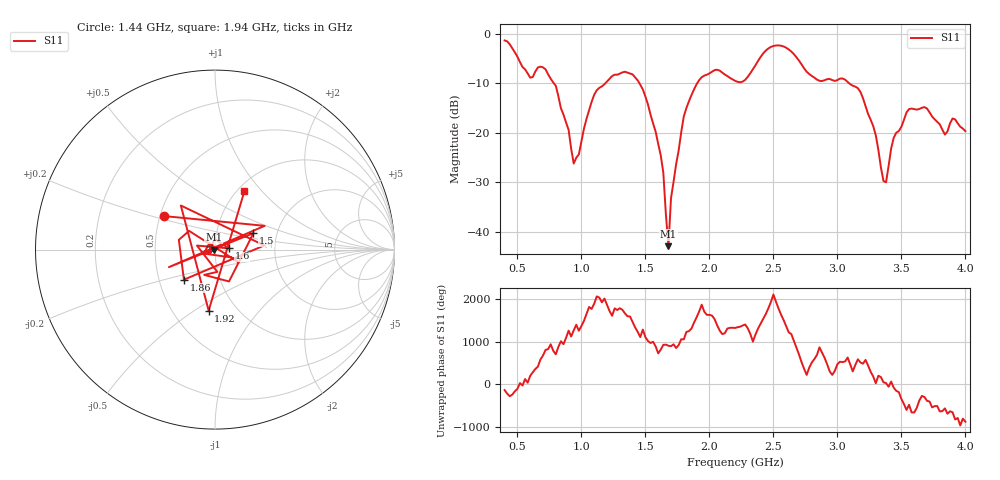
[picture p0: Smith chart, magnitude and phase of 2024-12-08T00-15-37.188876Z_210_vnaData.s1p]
!Created with skrf (http://scikit-rf.org).
# Hz S RI R 50.0
!freq ReS11 ImS11
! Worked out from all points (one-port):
!   181 points, 400 MHz to 4 GHz, reference 50 ohm
!   lowest |S11| = -42.9 dB at 1.68 GHz (marker M1), VSWR 1.01, Z = 49.3 - j0.0261 ohm
!   |S11| at or under -10 dB: 785.8 MHz to 1.186 GHz (400.2 MHz wide, 40.6 % of centre); 1.454 GHz to 1.904 GHz (449.7 MHz wide, 26.8 % of centre); 3.093 GHz to end of sweep
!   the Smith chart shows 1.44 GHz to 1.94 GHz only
!   S11 on the Smith chart (normalised r, x): 1.44 GHz: 0.53, +0.22; 1.5 GHz: 1.51, +0.29; 1.6 GHz: 1.17, +0.02; 1.86 GHz: 0.67, -0.24; 1.92 GHz: 0.74, -0.57; 1.94 GHz: 1.08, +0.81
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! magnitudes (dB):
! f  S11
! 400 MHz  -1.3
! 600 MHz  -8.8
! 720 MHz  -7.2
! 860 MHz  -16.3
! 940 MHz  -26.2
! 1.1 GHz  -12.3
! 1.3 GHz  -8.0
! 1.44 GHz  -9.4
! 1.5 GHz  -12.7
! 1.6 GHz  -22.2
! 1.64 GHz  -28.1
! 1.68 GHz  -42.9
! 1.7 GHz  -33.2
! 1.76 GHz  -23.5
! 1.8 GHz  -16.7
! 1.86 GHz  -12.4
! 1.92 GHz  -9.3
! 1.94 GHz  -8.7
! 2.2 GHz  -9.5
! 2.48 GHz  -2.6
! 2.66 GHz  -4.1
! 2.84 GHz  -9.2
! 3.1 GHz  -10.2
! 3.28 GHz  -18.6
! 3.38 GHz  -30.0
! 3.44 GHz  -21.0
! 3.56 GHz  -15.2
! 4 GHz  -19.6
